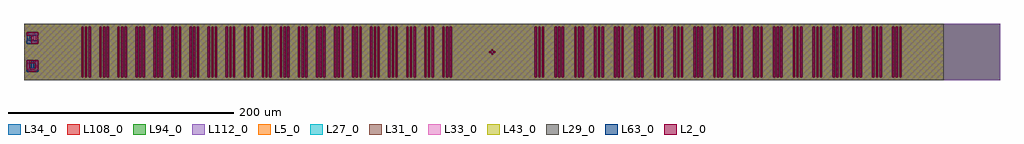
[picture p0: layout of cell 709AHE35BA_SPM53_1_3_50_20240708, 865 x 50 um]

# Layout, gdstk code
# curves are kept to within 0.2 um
from math import pi, radians
import gdstk
lib = gdstk.Library(unit=1e-6, precision=1e-09)
def R(c, l, rs):  # rectangles x0, y0, x1, y1
    for r in rs: c.add(gdstk.rectangle(r[:2], r[2:], *l))
def A(c, l, x, y, w, h, nx, ny, dx, dy):  # array of equal rectangles
    R(c, l, [(x+i*dx, y+j*dy, x+i*dx+w, y+j*dy+h) for i in range(nx) for j in range(ny)])
def P(c, l, *ps):  # polygons
    for p in ps: c.add(gdstk.Polygon(p, *l))
L2_0 = (2, 0)
L5_0 = (5, 0)
L27_0 = (27, 0)
L29_0 = (29, 0)
L31_0 = (31, 0)
L33_0 = (33, 0)
L34_0 = (34, 0)
L43_0 = (43, 0)
L63_0 = (63, 0)
L94_0 = (94, 0)
L108_0 = (108, 0)
L112_0 = (112, 0)

spm53_800_50_1_6_45_0_t_ = lib.new_cell('SPM53_800_50_1_6_45_0_T_2_T')
A(spm53_800_50_1_6_45_0_t_, L2_0, 51, 2.5, 1.6, 45, 3, 1, 3.2, 0)
A(spm53_800_50_1_6_45_0_t_, L2_0, 67, 2.5, 1.6, 45, 3, 1, 3.2, 0)
A(spm53_800_50_1_6_45_0_t_, L2_0, 83, 2.5, 1.6, 45, 3, 1, 3.2, 0)
A(spm53_800_50_1_6_45_0_t_, L2_0, 99, 2.5, 1.6, 45, 3, 1, 3.2, 0)
A(spm53_800_50_1_6_45_0_t_, L2_0, 115, 2.5, 1.6, 45, 3, 1, 3.2, 0)
A(spm53_800_50_1_6_45_0_t_, L2_0, 131, 2.5, 1.6, 45, 3, 1, 3.2, 0)
A(spm53_800_50_1_6_45_0_t_, L2_0, 147, 2.5, 1.6, 45, 3, 1, 3.2, 0)
A(spm53_800_50_1_6_45_0_t_, L2_0, 163, 2.5, 1.6, 45, 3, 1, 3.2, 0)
A(spm53_800_50_1_6_45_0_t_, L2_0, 179, 2.5, 1.6, 45, 3, 1, 3.2, 0)
A(spm53_800_50_1_6_45_0_t_, L2_0, 195, 2.5, 1.6, 45, 3, 1, 3.2, 0)
A(spm53_800_50_1_6_45_0_t_, L2_0, 211, 2.5, 1.6, 45, 3, 1, 3.2, 0)
A(spm53_800_50_1_6_45_0_t_, L2_0, 227, 2.5, 1.6, 45, 3, 1, 3.2, 0)
A(spm53_800_50_1_6_45_0_t_, L2_0, 243, 2.5, 1.6, 45, 3, 1, 3.2, 0)
A(spm53_800_50_1_6_45_0_t_, L2_0, 259, 2.5, 1.6, 45, 3, 1, 3.2, 0)
A(spm53_800_50_1_6_45_0_t_, L2_0, 275, 2.5, 1.6, 45, 3, 1, 3.2, 0)
A(spm53_800_50_1_6_45_0_t_, L2_0, 291, 2.5, 1.6, 45, 3, 1, 3.2, 0)
A(spm53_800_50_1_6_45_0_t_, L2_0, 307, 2.5, 1.6, 45, 3, 1, 3.2, 0)
A(spm53_800_50_1_6_45_0_t_, L2_0, 323, 2.5, 1.6, 45, 3, 1, 3.2, 0)
A(spm53_800_50_1_6_45_0_t_, L2_0, 339, 2.5, 1.6, 45, 3, 1, 3.2, 0)
A(spm53_800_50_1_6_45_0_t_, L2_0, 355, 2.5, 1.6, 45, 3, 1, 3.2, 0)
A(spm53_800_50_1_6_45_0_t_, L2_0, 371, 2.5, 1.6, 45, 3, 1, 3.2, 0)
A(spm53_800_50_1_6_45_0_t_, L2_0, 452.8, 2.5, 1.6, 45, 3, 1, 3.2, 0)
A(spm53_800_50_1_6_45_0_t_, L2_0, 470.4, 2.5, 1.6, 45, 3, 1, 3.2, 0)
A(spm53_800_50_1_6_45_0_t_, L2_0, 488, 2.5, 1.6, 45, 3, 1, 3.2, 0)
A(spm53_800_50_1_6_45_0_t_, L2_0, 505.6, 2.5, 1.6, 45, 3, 1, 3.2, 0)
A(spm53_800_50_1_6_45_0_t_, L2_0, 523.2, 2.5, 1.6, 45, 3, 1, 3.2, 0)
A(spm53_800_50_1_6_45_0_t_, L2_0, 540.8, 2.5, 1.6, 45, 3, 1, 3.2, 0)
A(spm53_800_50_1_6_45_0_t_, L2_0, 558.4, 2.5, 1.6, 45, 3, 1, 3.2, 0)
A(spm53_800_50_1_6_45_0_t_, L2_0, 576, 2.5, 1.6, 45, 3, 1, 3.2, 0)
A(spm53_800_50_1_6_45_0_t_, L2_0, 593.6, 2.5, 1.6, 45, 3, 1, 3.2, 0)
A(spm53_800_50_1_6_45_0_t_, L2_0, 611.2, 2.5, 1.6, 45, 3, 1, 3.2, 0)
A(spm53_800_50_1_6_45_0_t_, L2_0, 628.8, 2.5, 1.6, 45, 3, 1, 3.2, 0)
A(spm53_800_50_1_6_45_0_t_, L2_0, 646.4, 2.5, 1.6, 45, 3, 1, 3.2, 0)
A(spm53_800_50_1_6_45_0_t_, L2_0, 664, 2.5, 1.6, 45, 3, 1, 3.2, 0)
A(spm53_800_50_1_6_45_0_t_, L2_0, 681.6, 2.5, 1.6, 45, 3, 1, 3.2, 0)
A(spm53_800_50_1_6_45_0_t_, L2_0, 699.2, 2.5, 1.6, 45, 3, 1, 3.2, 0)
A(spm53_800_50_1_6_45_0_t_, L2_0, 716.8, 2.5, 1.6, 45, 3, 1, 3.2, 0)
A(spm53_800_50_1_6_45_0_t_, L2_0, 734.4, 2.5, 1.6, 45, 3, 1, 3.2, 0)
A(spm53_800_50_1_6_45_0_t_, L2_0, 752, 2.5, 1.6, 45, 3, 1, 3.2, 0)
A(spm53_800_50_1_6_45_0_t_, L2_0, 769.6, 2.5, 1.6, 45, 3, 1, 3.2, 0)
P(spm53_800_50_1_6_45_0_t_, L2_0, [(415.5,24.5),(417.5,24.5),(417.5,25.5),(415.5,25.5),(415.5,27.5),(414.5,27.5),(414.5,25.5),(412.5,25.5),(412.5,24.5),(414.5,24.5),(414.5,22.5),(415.5,22.5)])
R(spm53_800_50_1_6_45_0_t_, L5_0, [(15,0,815,50)])
R(spm53_800_50_1_6_45_0_t_, L27_0, [(15,0,815,50)])
R(spm53_800_50_1_6_45_0_t_, L31_0, [(15,0,815,50)])
R(spm53_800_50_1_6_45_0_t_, L33_0, [(15,0,815,50)])
R(spm53_800_50_1_6_45_0_t_, L34_0, [(15,0,865,50)])
R(spm53_800_50_1_6_45_0_t_, L94_0, [(15,0,865,50)])
R(spm53_800_50_1_6_45_0_t_, L108_0, [(15,0,865,50)])
R(spm53_800_50_1_6_45_0_t_, L112_0, [(15,0,865,50)])

c_spm53_800_50_1_6_45_0_t_ = lib.new_cell('SPM53_800_50_1_6_45_0_T_2_name')
P(c_spm53_800_50_1_6_45_0_t_, L2_0, [(10.5,2.5),(10.5,6.5),(17.5,6.5),(17.5,12.5),(7.5,12.5),(7.5,9),(10.5,9),(10.5,10),(15,10),(15,9),(10.5,9),(7.5,9),(7.5,2.5)],
  [(40.5,2.5),(42.5,4.5),(42.5,10.5),(40.5,12.5),(32.5,12.5),(32.5,5),(35,5),(35,10),(39,10),(40,9),(40,6),(39,5),(32.5,5),(32.5,2.5)])
R(c_spm53_800_50_1_6_45_0_t_, L5_0, [(0,0,50,15)])
R(c_spm53_800_50_1_6_45_0_t_, L27_0, [(0,0,50,15)])
R(c_spm53_800_50_1_6_45_0_t_, L31_0, [(0,0,50,15)])
R(c_spm53_800_50_1_6_45_0_t_, L33_0, [(0,0,50,15)])
R(c_spm53_800_50_1_6_45_0_t_, L34_0, [(0,0,50,15)])
R(c_spm53_800_50_1_6_45_0_t_, L94_0, [(0,0,50,15)])
R(c_spm53_800_50_1_6_45_0_t_, L108_0, [(0,0,50,15)])
R(c_spm53_800_50_1_6_45_0_t_, L112_0, [(0,0,50,15)])

spm53_800_50_1_6_45_0_m_ = lib.new_cell('SPM53_800_50_1_6_45_0_M_29_M')
R(spm53_800_50_1_6_45_0_m_, L5_0, [(15,0,815,50)])
R(spm53_800_50_1_6_45_0_m_, L27_0, [(15,0,815,50)])
P(spm53_800_50_1_6_45_0_m_, L29_0, [(211,50),(15,50),(15,2.5),(51,2.5),(51,47.5),(52.6,47.5),(52.6,2.5),(54.2,2.5),(54.2,47.5),(55.8,47.5),(55.8,2.5),(57.4,2.5),(57.4,47.5),(59,47.5),(59,2.5),(67,2.5),(67,47.5),(68.6,47.5),(68.6,2.5),(70.2,2.5),(70.2,47.5),(71.8,47.5),(71.8,2.5),(73.4,2.5),(73.4,47.5),(75,47.5),(75,2.5),(83,2.5),(83,47.5),(84.6,47.5),(84.6,2.5),(86.2,2.5),(86.2,47.5),(87.8,47.5),(87.8,2.5),(89.4,2.5),(89.4,47.5),(91,47.5),(91,2.5),(99,2.5),(99,47.5),(100.6,47.5),(100.6,2.5),(102.2,2.5),(102.2,47.5),(103.8,47.5),(103.8,2.5),(105.4,2.5),(105.4,47.5),(107,47.5),(107,2.5),(115,2.5),(115,47.5),(116.6,47.5),(116.6,2.5),(118.2,2.5),(118.2,47.5),(119.8,47.5),(119.8,2.5),(121.4,2.5),(121.4,47.5),(123,47.5),(123,2.5),(131,2.5),(131,47.5),(132.6,47.5),(132.6,2.5),(134.2,2.5),(134.2,47.5),(135.8,47.5),(135.8,2.5),(137.4,2.5),(137.4,47.5),(139,47.5),(139,2.5),(147,2.5),(147,47.5),(148.6,47.5),(148.6,2.5),(150.2,2.5),(150.2,47.5),(151.8,47.5),(151.8,2.5),(153.4,2.5),(153.4,47.5),(155,47.5),(155,2.5),(163,2.5),(163,47.5),(164.6,47.5),(164.6,2.5),(166.2,2.5),(166.2,47.5),(167.8,47.5),(167.8,2.5),(169.4,2.5),(169.4,47.5),(171,47.5),(171,2.5),(179,2.5),(179,47.5),(180.6,47.5),(180.6,2.5),(182.2,2.5),(182.2,47.5),(183.8,47.5),(183.8,2.5),(185.4,2.5),(185.4,47.5),(187,47.5),(187,2.5),(195,2.5),(195,47.5),(196.6,47.5),(196.6,2.5),(198.2,2.5),(198.2,47.5),(199.8,47.5),(199.8,2.5),(201.4,2.5),(201.4,47.5),(203,47.5),(203,2.5),(201.4,2.5),(199.8,2.5),(198.2,2.5),(196.6,2.5),(195,2.5),(187,2.5),(185.4,2.5),(183.8,2.5),(182.2,2.5),(180.6,2.5),(179,2.5),(171,2.5),(169.4,2.5),(167.8,2.5),(166.2,2.5),(164.6,2.5),(163,2.5),(155,2.5),(153.4,2.5),(151.8,2.5),(150.2,2.5),(148.6,2.5),(147,2.5),(139,2.5),(137.4,2.5),(135.8,2.5),(134.2,2.5),(132.6,2.5),(131,2.5),(123,2.5),(121.4,2.5),(119.8,2.5),(118.2,2.5),(116.6,2.5),(115,2.5),(107,2.5),(105.4,2.5),(103.8,2.5),(102.2,2.5),(100.6,2.5),(99,2.5),(91,2.5),(89.4,2.5),(87.8,2.5),(86.2,2.5),(84.6,2.5),(83,2.5),(75,2.5),(73.4,2.5),(71.8,2.5),(70.2,2.5),(68.6,2.5),(67,2.5),(59,2.5),(57.4,2.5),(55.8,2.5),(54.2,2.5),(52.6,2.5),(51,2.5),(15,2.5),(15,0),(211,0)],
  [(212.6,2.5),(214.2,2.5),(214.2,47.5),(215.8,47.5),(215.8,2.5),(217.4,2.5),(217.4,47.5),(219,47.5),(219,2.5),(227,2.5),(227,47.5),(228.6,47.5),(228.6,2.5),(230.2,2.5),(230.2,47.5),(231.8,47.5),(231.8,2.5),(233.4,2.5),(233.4,47.5),(235,47.5),(235,2.5),(243,2.5),(243,47.5),(244.6,47.5),(244.6,2.5),(246.2,2.5),(246.2,47.5),(247.8,47.5),(247.8,2.5),(249.4,2.5),(249.4,47.5),(251,47.5),(251,2.5),(259,2.5),(259,47.5),(260.6,47.5),(260.6,2.5),(262.2,2.5),(262.2,47.5),(263.8,47.5),(263.8,2.5),(265.4,2.5),(265.4,47.5),(267,47.5),(267,2.5),(275,2.5),(275,47.5),(276.6,47.5),(276.6,2.5),(278.2,2.5),(278.2,47.5),(279.8,47.5),(279.8,2.5),(281.4,2.5),(281.4,47.5),(283,47.5),(283,2.5),(291,2.5),(291,47.5),(292.6,47.5),(292.6,2.5),(294.2,2.5),(294.2,47.5),(295.8,47.5),(295.8,2.5),(297.4,2.5),(297.4,47.5),(299,47.5),(299,2.5),(307,2.5),(307,47.5),(308.6,47.5),(308.6,2.5),(310.2,2.5),(310.2,47.5),(311.8,47.5),(311.8,2.5),(313.4,2.5),(313.4,47.5),(315,47.5),(315,2.5),(323,2.5),(323,47.5),(324.6,47.5),(324.6,2.5),(326.2,2.5),(326.2,47.5),(327.8,47.5),(327.8,2.5),(329.4,2.5),(329.4,47.5),(331,47.5),(331,2.5),(339,2.5),(339,47.5),(340.6,47.5),(340.6,2.5),(342.2,2.5),(342.2,47.5),(343.8,47.5),(343.8,2.5),(345.4,2.5),(345.4,47.5),(347,47.5),(347,2.5),(355,2.5),(355,47.5),(356.6,47.5),(356.6,2.5),(358.2,2.5),(358.2,47.5),(359.8,47.5),(359.8,2.5),(361.4,2.5),(361.4,47.5),(363,47.5),(363,2.5),(371,2.5),(371,47.5),(372.6,47.5),(372.6,2.5),(371,2.5),(363,2.5),(361.4,2.5),(359.8,2.5),(358.2,2.5),(356.6,2.5),(355,2.5),(347,2.5),(345.4,2.5),(343.8,2.5),(342.2,2.5),(340.6,2.5),(339,2.5),(331,2.5),(329.4,2.5),(327.8,2.5),(326.2,2.5),(324.6,2.5),(323,2.5),(315,2.5),(313.4,2.5),(311.8,2.5),(310.2,2.5),(308.6,2.5),(307,2.5),(299,2.5),(297.4,2.5),(295.8,2.5),(294.2,2.5),(292.6,2.5),(291,2.5),(283,2.5),(281.4,2.5),(279.8,2.5),(278.2,2.5),(276.6,2.5),(275,2.5),(267,2.5),(265.4,2.5),(263.8,2.5),(262.2,2.5),(260.6,2.5),(259,2.5),(251,2.5),(249.4,2.5),(247.8,2.5),(246.2,2.5),(244.6,2.5),(243,2.5),(235,2.5),(233.4,2.5),(231.8,2.5),(230.2,2.5),(228.6,2.5),(227,2.5),(219,2.5),(217.4,2.5),(215.8,2.5),(214.2,2.5),(212.6,2.5),(211,2.5),(211,0),(374.2,0),(374.2,50),(211,50),(211,47.5),(212.6,47.5)],
  [(375.8,2.5),(377.4,2.5),(377.4,47.5),(379,47.5),(379,24.5),(412.5,24.5),(412.5,25.5),(414.5,25.5),(414.5,27.5),(415.5,27.5),(415.5,25.5),(417.5,25.5),(417.5,24.5),(415.5,24.5),(415.5,22.5),(414.5,22.5),(414.5,24.5),(412.5,24.5),(379,24.5),(379,2.5),(452.8,2.5),(452.8,47.5),(454.4,47.5),(454.4,2.5),(456,2.5),(456,47.5),(457.6,47.5),(457.6,2.5),(459.2,2.5),(459.2,47.5),(460.8,47.5),(460.8,2.5),(470.4,2.5),(470.4,47.5),(472,47.5),(472,2.5),(473.6,2.5),(473.6,47.5),(475.2,47.5),(475.2,2.5),(476.8,2.5),(476.8,47.5),(478.4,47.5),(478.4,2.5),(488,2.5),(488,47.5),(489.6,47.5),(489.6,2.5),(491.2,2.5),(491.2,47.5),(492.8,47.5),(492.8,2.5),(494.4,2.5),(494.4,47.5),(496,47.5),(496,2.5),(505.6,2.5),(505.6,47.5),(507.2,47.5),(507.2,2.5),(508.8,2.5),(508.8,47.5),(510.4,47.5),(510.4,2.5),(512,2.5),(512,47.5),(513.6,47.5),(513.6,2.5),(523.2,2.5),(523.2,47.5),(524.8,47.5),(524.8,2.5),(526.4,2.5),(526.4,47.5),(528,47.5),(528,2.5),(529.6,2.5),(529.6,47.5),(531.2,47.5),(531.2,2.5),(540.8,2.5),(540.8,47.5),(542.4,47.5),(542.4,2.5),(544,2.5),(544,47.5),(545.6,47.5),(545.6,2.5),(547.2,2.5),(547.2,47.5),(548.8,47.5),(548.8,2.5),(558.4,2.5),(558.4,47.5),(560,47.5),(560,2.5),(561.6,2.5),(561.6,47.5),(563.2,47.5),(563.2,2.5),(564.8,2.5),(564.8,47.5),(566.4,47.5),(566.4,2.5),(576,2.5),(576,47.5),(577.6,47.5),(577.6,2.5),(579.2,2.5),(579.2,47.5),(580.8,47.5),(580.8,2.5),(582.4,2.5),(582.4,47.5),(584,47.5),(584,2.5),(593.6,2.5),(593.6,47.5),(595.2,47.5),(595.2,2.5),(596.8,2.5),(596.8,47.5),(598.4,47.5),(598.4,2.5),(596.8,2.5),(595.2,2.5),(593.6,2.5),(584,2.5),(582.4,2.5),(580.8,2.5),(579.2,2.5),(577.6,2.5),(576,2.5),(566.4,2.5),(564.8,2.5),(563.2,2.5),(561.6,2.5),(560,2.5),(558.4,2.5),(548.8,2.5),(547.2,2.5),(545.6,2.5),(544,2.5),(542.4,2.5),(540.8,2.5),(531.2,2.5),(529.6,2.5),(528,2.5),(526.4,2.5),(524.8,2.5),(523.2,2.5),(513.6,2.5),(512,2.5),(510.4,2.5),(508.8,2.5),(507.2,2.5),(505.6,2.5),(496,2.5),(494.4,2.5),(492.8,2.5),(491.2,2.5),(489.6,2.5),(488,2.5),(478.4,2.5),(476.8,2.5),(475.2,2.5),(473.6,2.5),(472,2.5),(470.4,2.5),(460.8,2.5),(459.2,2.5),(457.6,2.5),(456,2.5),(454.4,2.5),(452.8,2.5),(379,2.5),(377.4,2.5),(375.8,2.5),(374.2,2.5),(374.2,0),(600,0),(600,50),(374.2,50),(374.2,47.5),(375.8,47.5)],
  [(601.6,2.5),(611.2,2.5),(611.2,47.5),(612.8,47.5),(612.8,2.5),(614.4,2.5),(614.4,47.5),(616,47.5),(616,2.5),(617.6,2.5),(617.6,47.5),(619.2,47.5),(619.2,2.5),(628.8,2.5),(628.8,47.5),(630.4,47.5),(630.4,2.5),(632,2.5),(632,47.5),(633.6,47.5),(633.6,2.5),(635.2,2.5),(635.2,47.5),(636.8,47.5),(636.8,2.5),(646.4,2.5),(646.4,47.5),(648,47.5),(648,2.5),(649.6,2.5),(649.6,47.5),(651.2,47.5),(651.2,2.5),(652.8,2.5),(652.8,47.5),(654.4,47.5),(654.4,2.5),(664,2.5),(664,47.5),(665.6,47.5),(665.6,2.5),(667.2,2.5),(667.2,47.5),(668.8,47.5),(668.8,2.5),(670.4,2.5),(670.4,47.5),(672,47.5),(672,2.5),(681.6,2.5),(681.6,47.5),(683.2,47.5),(683.2,2.5),(684.8,2.5),(684.8,47.5),(686.4,47.5),(686.4,2.5),(688,2.5),(688,47.5),(689.6,47.5),(689.6,2.5),(699.2,2.5),(699.2,47.5),(700.8,47.5),(700.8,2.5),(702.4,2.5),(702.4,47.5),(704,47.5),(704,2.5),(705.6,2.5),(705.6,47.5),(707.2,47.5),(707.2,2.5),(716.8,2.5),(716.8,47.5),(718.4,47.5),(718.4,2.5),(720,2.5),(720,47.5),(721.6,47.5),(721.6,2.5),(723.2,2.5),(723.2,47.5),(724.8,47.5),(724.8,2.5),(734.4,2.5),(734.4,47.5),(736,47.5),(736,2.5),(737.6,2.5),(737.6,47.5),(739.2,47.5),(739.2,2.5),(740.8,2.5),(740.8,47.5),(742.4,47.5),(742.4,2.5),(752,2.5),(752,47.5),(753.6,47.5),(753.6,2.5),(755.2,2.5),(755.2,47.5),(756.8,47.5),(756.8,2.5),(758.4,2.5),(758.4,47.5),(760,47.5),(760,2.5),(769.6,2.5),(769.6,47.5),(771.2,47.5),(771.2,2.5),(772.8,2.5),(772.8,47.5),(774.4,47.5),(774.4,2.5),(776,2.5),(776,47.5),(777.6,47.5),(777.6,2.5),(776,2.5),(774.4,2.5),(772.8,2.5),(771.2,2.5),(769.6,2.5),(760,2.5),(758.4,2.5),(756.8,2.5),(755.2,2.5),(753.6,2.5),(752,2.5),(742.4,2.5),(740.8,2.5),(739.2,2.5),(737.6,2.5),(736,2.5),(734.4,2.5),(724.8,2.5),(723.2,2.5),(721.6,2.5),(720,2.5),(718.4,2.5),(716.8,2.5),(707.2,2.5),(705.6,2.5),(704,2.5),(702.4,2.5),(700.8,2.5),(699.2,2.5),(689.6,2.5),(688,2.5),(686.4,2.5),(684.8,2.5),(683.2,2.5),(681.6,2.5),(672,2.5),(670.4,2.5),(668.8,2.5),(667.2,2.5),(665.6,2.5),(664,2.5),(654.4,2.5),(652.8,2.5),(651.2,2.5),(649.6,2.5),(648,2.5),(646.4,2.5),(636.8,2.5),(635.2,2.5),(633.6,2.5),(632,2.5),(630.4,2.5),(628.8,2.5),(619.2,2.5),(617.6,2.5),(616,2.5),(614.4,2.5),(612.8,2.5),(611.2,2.5),(601.6,2.5),(600,2.5),(600,0),(815,0),(815,50),(600,50),(600,47.5),(601.6,47.5)])
R(spm53_800_50_1_6_45_0_m_, L31_0, [(15,0,815,50)])
R(spm53_800_50_1_6_45_0_m_, L33_0, [(15,0,815,50)])
R(spm53_800_50_1_6_45_0_m_, L34_0, [(15,0,865,50)])
R(spm53_800_50_1_6_45_0_m_, L94_0, [(15,0,865,50)])
R(spm53_800_50_1_6_45_0_m_, L108_0, [(15,0,865,50)])
R(spm53_800_50_1_6_45_0_m_, L112_0, [(15,0,865,50)])

c_spm53_800_50_1_6_45_0_m_ = lib.new_cell('SPM53_800_50_1_6_45_0_M_29_name')
R(c_spm53_800_50_1_6_45_0_m_, L5_0, [(0,0,50,15)])
R(c_spm53_800_50_1_6_45_0_m_, L27_0, [(0,0,50,15)])
P(c_spm53_800_50_1_6_45_0_m_, L29_0, [(50,15),(0,15),(0,2.5),(7.5,2.5),(7.5,12.5),(10,12.5),(12.5,10),(15,12.5),(17.5,12.5),(17.5,2.5),(32.5,2.5),(32.5,8.8),(39.5,8.8),(39.5,10),(32.5,10),(32.5,12.5),(42.5,12.5),(42.5,6.3),(35.5,6.3),(35.5,5),(42.5,5),(42.5,2.5),(15,2.5),(15,9),(12.5,6.5),(10,9),(10,2.5),(0,2.5),(0,0),(50,0)])
R(c_spm53_800_50_1_6_45_0_m_, L31_0, [(0,0,50,15)])
R(c_spm53_800_50_1_6_45_0_m_, L33_0, [(0,0,50,15)])
R(c_spm53_800_50_1_6_45_0_m_, L34_0, [(0,0,50,15)])
R(c_spm53_800_50_1_6_45_0_m_, L94_0, [(0,0,50,15)])
R(c_spm53_800_50_1_6_45_0_m_, L108_0, [(0,0,50,15)])
R(c_spm53_800_50_1_6_45_0_m_, L112_0, [(0,0,50,15)])

c_spm53_800_50_1_6_45_0_t__ = lib.new_cell('SPM53_800_50_1_6_45_0_T_63_T')
R(c_spm53_800_50_1_6_45_0_t__, L5_0, [(15,0,815,50)])
R(c_spm53_800_50_1_6_45_0_t__, L27_0, [(15,0,815,50)])
R(c_spm53_800_50_1_6_45_0_t__, L31_0, [(15,0,815,50)])
R(c_spm53_800_50_1_6_45_0_t__, L33_0, [(15,0,815,50)])
R(c_spm53_800_50_1_6_45_0_t__, L34_0, [(15,0,865,50)])
A(c_spm53_800_50_1_6_45_0_t__, L63_0, 51, 2.5, 1.6, 45, 3, 1, 3.2, 0)
A(c_spm53_800_50_1_6_45_0_t__, L63_0, 67, 2.5, 1.6, 45, 3, 1, 3.2, 0)
A(c_spm53_800_50_1_6_45_0_t__, L63_0, 83, 2.5, 1.6, 45, 3, 1, 3.2, 0)
A(c_spm53_800_50_1_6_45_0_t__, L63_0, 99, 2.5, 1.6, 45, 3, 1, 3.2, 0)
A(c_spm53_800_50_1_6_45_0_t__, L63_0, 115, 2.5, 1.6, 45, 3, 1, 3.2, 0)
A(c_spm53_800_50_1_6_45_0_t__, L63_0, 131, 2.5, 1.6, 45, 3, 1, 3.2, 0)
A(c_spm53_800_50_1_6_45_0_t__, L63_0, 147, 2.5, 1.6, 45, 3, 1, 3.2, 0)
A(c_spm53_800_50_1_6_45_0_t__, L63_0, 163, 2.5, 1.6, 45, 3, 1, 3.2, 0)
A(c_spm53_800_50_1_6_45_0_t__, L63_0, 179, 2.5, 1.6, 45, 3, 1, 3.2, 0)
A(c_spm53_800_50_1_6_45_0_t__, L63_0, 195, 2.5, 1.6, 45, 3, 1, 3.2, 0)
A(c_spm53_800_50_1_6_45_0_t__, L63_0, 211, 2.5, 1.6, 45, 3, 1, 3.2, 0)
A(c_spm53_800_50_1_6_45_0_t__, L63_0, 227, 2.5, 1.6, 45, 3, 1, 3.2, 0)
A(c_spm53_800_50_1_6_45_0_t__, L63_0, 243, 2.5, 1.6, 45, 3, 1, 3.2, 0)
A(c_spm53_800_50_1_6_45_0_t__, L63_0, 259, 2.5, 1.6, 45, 3, 1, 3.2, 0)
A(c_spm53_800_50_1_6_45_0_t__, L63_0, 275, 2.5, 1.6, 45, 3, 1, 3.2, 0)
A(c_spm53_800_50_1_6_45_0_t__, L63_0, 291, 2.5, 1.6, 45, 3, 1, 3.2, 0)
A(c_spm53_800_50_1_6_45_0_t__, L63_0, 307, 2.5, 1.6, 45, 3, 1, 3.2, 0)
A(c_spm53_800_50_1_6_45_0_t__, L63_0, 323, 2.5, 1.6, 45, 3, 1, 3.2, 0)
A(c_spm53_800_50_1_6_45_0_t__, L63_0, 339, 2.5, 1.6, 45, 3, 1, 3.2, 0)
A(c_spm53_800_50_1_6_45_0_t__, L63_0, 355, 2.5, 1.6, 45, 3, 1, 3.2, 0)
A(c_spm53_800_50_1_6_45_0_t__, L63_0, 371, 2.5, 1.6, 45, 3, 1, 3.2, 0)
A(c_spm53_800_50_1_6_45_0_t__, L63_0, 452.8, 2.5, 1.6, 45, 3, 1, 3.2, 0)
A(c_spm53_800_50_1_6_45_0_t__, L63_0, 470.4, 2.5, 1.6, 45, 3, 1, 3.2, 0)
A(c_spm53_800_50_1_6_45_0_t__, L63_0, 488, 2.5, 1.6, 45, 3, 1, 3.2, 0)
A(c_spm53_800_50_1_6_45_0_t__, L63_0, 505.6, 2.5, 1.6, 45, 3, 1, 3.2, 0)
A(c_spm53_800_50_1_6_45_0_t__, L63_0, 523.2, 2.5, 1.6, 45, 3, 1, 3.2, 0)
A(c_spm53_800_50_1_6_45_0_t__, L63_0, 540.8, 2.5, 1.6, 45, 3, 1, 3.2, 0)
A(c_spm53_800_50_1_6_45_0_t__, L63_0, 558.4, 2.5, 1.6, 45, 3, 1, 3.2, 0)
A(c_spm53_800_50_1_6_45_0_t__, L63_0, 576, 2.5, 1.6, 45, 3, 1, 3.2, 0)
A(c_spm53_800_50_1_6_45_0_t__, L63_0, 593.6, 2.5, 1.6, 45, 3, 1, 3.2, 0)
A(c_spm53_800_50_1_6_45_0_t__, L63_0, 611.2, 2.5, 1.6, 45, 3, 1, 3.2, 0)
A(c_spm53_800_50_1_6_45_0_t__, L63_0, 628.8, 2.5, 1.6, 45, 3, 1, 3.2, 0)
A(c_spm53_800_50_1_6_45_0_t__, L63_0, 646.4, 2.5, 1.6, 45, 3, 1, 3.2, 0)
A(c_spm53_800_50_1_6_45_0_t__, L63_0, 664, 2.5, 1.6, 45, 3, 1, 3.2, 0)
A(c_spm53_800_50_1_6_45_0_t__, L63_0, 681.6, 2.5, 1.6, 45, 3, 1, 3.2, 0)
A(c_spm53_800_50_1_6_45_0_t__, L63_0, 699.2, 2.5, 1.6, 45, 3, 1, 3.2, 0)
A(c_spm53_800_50_1_6_45_0_t__, L63_0, 716.8, 2.5, 1.6, 45, 3, 1, 3.2, 0)
A(c_spm53_800_50_1_6_45_0_t__, L63_0, 734.4, 2.5, 1.6, 45, 3, 1, 3.2, 0)
A(c_spm53_800_50_1_6_45_0_t__, L63_0, 752, 2.5, 1.6, 45, 3, 1, 3.2, 0)
A(c_spm53_800_50_1_6_45_0_t__, L63_0, 769.6, 2.5, 1.6, 45, 3, 1, 3.2, 0)
P(c_spm53_800_50_1_6_45_0_t__, L63_0, [(415.5,24.5),(417.5,24.5),(417.5,25.5),(415.5,25.5),(415.5,27.5),(414.5,27.5),(414.5,25.5),(412.5,25.5),(412.5,24.5),(414.5,24.5),(414.5,22.5),(415.5,22.5)])
R(c_spm53_800_50_1_6_45_0_t__, L94_0, [(15,0,865,50)])
R(c_spm53_800_50_1_6_45_0_t__, L108_0, [(15,0,865,50)])
R(c_spm53_800_50_1_6_45_0_t__, L112_0, [(15,0,865,50)])

c_spm53_800_50_1_6_45_0_t___ = lib.new_cell('SPM53_800_50_1_6_45_0_T_63_name')
R(c_spm53_800_50_1_6_45_0_t___, L5_0, [(0,0,50,15)])
R(c_spm53_800_50_1_6_45_0_t___, L27_0, [(0,0,50,15)])
R(c_spm53_800_50_1_6_45_0_t___, L31_0, [(0,0,50,15)])
R(c_spm53_800_50_1_6_45_0_t___, L33_0, [(0,0,50,15)])
R(c_spm53_800_50_1_6_45_0_t___, L34_0, [(0,0,50,15)])
P(c_spm53_800_50_1_6_45_0_t___, L63_0, [(17.5,12.5),(14.5,12.5),(14.5,5.5),(10.5,5.5),(10.5,12.5),(7.5,12.5),(7.5,2.5),(17.5,2.5)],
  [(42.5,12.5),(32.5,12.5),(32.5,10),(39.5,10),(39.5,8.8),(32.5,8.8),(32.5,6.3),(39.5,6.3),(39.5,5),(32.5,5),(32.5,2.5),(42.5,2.5)])
R(c_spm53_800_50_1_6_45_0_t___, L94_0, [(0,0,50,15)])
R(c_spm53_800_50_1_6_45_0_t___, L108_0, [(0,0,50,15)])
R(c_spm53_800_50_1_6_45_0_t___, L112_0, [(0,0,50,15)])

c_spm53_800_50_1_6_45_0_m__ = lib.new_cell('SPM53_800_50_1_6_45_0_M_43_M')
R(c_spm53_800_50_1_6_45_0_m__, L5_0, [(15,0,815,50)])
R(c_spm53_800_50_1_6_45_0_m__, L27_0, [(15,0,815,50)])
R(c_spm53_800_50_1_6_45_0_m__, L31_0, [(15,0,815,50)])
R(c_spm53_800_50_1_6_45_0_m__, L33_0, [(15,0,815,50)])
R(c_spm53_800_50_1_6_45_0_m__, L34_0, [(15,0,865,50)])
P(c_spm53_800_50_1_6_45_0_m__, L43_0, [(211,50),(15,50),(15,2.5),(51,2.5),(51,47.5),(52.6,47.5),(52.6,2.5),(54.2,2.5),(54.2,47.5),(55.8,47.5),(55.8,2.5),(57.4,2.5),(57.4,47.5),(59,47.5),(59,2.5),(67,2.5),(67,47.5),(68.6,47.5),(68.6,2.5),(70.2,2.5),(70.2,47.5),(71.8,47.5),(71.8,2.5),(73.4,2.5),(73.4,47.5),(75,47.5),(75,2.5),(83,2.5),(83,47.5),(84.6,47.5),(84.6,2.5),(86.2,2.5),(86.2,47.5),(87.8,47.5),(87.8,2.5),(89.4,2.5),(89.4,47.5),(91,47.5),(91,2.5),(99,2.5),(99,47.5),(100.6,47.5),(100.6,2.5),(102.2,2.5),(102.2,47.5),(103.8,47.5),(103.8,2.5),(105.4,2.5),(105.4,47.5),(107,47.5),(107,2.5),(115,2.5),(115,47.5),(116.6,47.5),(116.6,2.5),(118.2,2.5),(118.2,47.5),(119.8,47.5),(119.8,2.5),(121.4,2.5),(121.4,47.5),(123,47.5),(123,2.5),(131,2.5),(131,47.5),(132.6,47.5),(132.6,2.5),(134.2,2.5),(134.2,47.5),(135.8,47.5),(135.8,2.5),(137.4,2.5),(137.4,47.5),(139,47.5),(139,2.5),(147,2.5),(147,47.5),(148.6,47.5),(148.6,2.5),(150.2,2.5),(150.2,47.5),(151.8,47.5),(151.8,2.5),(153.4,2.5),(153.4,47.5),(155,47.5),(155,2.5),(163,2.5),(163,47.5),(164.6,47.5),(164.6,2.5),(166.2,2.5),(166.2,47.5),(167.8,47.5),(167.8,2.5),(169.4,2.5),(169.4,47.5),(171,47.5),(171,2.5),(179,2.5),(179,47.5),(180.6,47.5),(180.6,2.5),(182.2,2.5),(182.2,47.5),(183.8,47.5),(183.8,2.5),(185.4,2.5),(185.4,47.5),(187,47.5),(187,2.5),(195,2.5),(195,47.5),(196.6,47.5),(196.6,2.5),(198.2,2.5),(198.2,47.5),(199.8,47.5),(199.8,2.5),(201.4,2.5),(201.4,47.5),(203,47.5),(203,2.5),(201.4,2.5),(199.8,2.5),(198.2,2.5),(196.6,2.5),(195,2.5),(187,2.5),(185.4,2.5),(183.8,2.5),(182.2,2.5),(180.6,2.5),(179,2.5),(171,2.5),(169.4,2.5),(167.8,2.5),(166.2,2.5),(164.6,2.5),(163,2.5),(155,2.5),(153.4,2.5),(151.8,2.5),(150.2,2.5),(148.6,2.5),(147,2.5),(139,2.5),(137.4,2.5),(135.8,2.5),(134.2,2.5),(132.6,2.5),(131,2.5),(123,2.5),(121.4,2.5),(119.8,2.5),(118.2,2.5),(116.6,2.5),(115,2.5),(107,2.5),(105.4,2.5),(103.8,2.5),(102.2,2.5),(100.6,2.5),(99,2.5),(91,2.5),(89.4,2.5),(87.8,2.5),(86.2,2.5),(84.6,2.5),(83,2.5),(75,2.5),(73.4,2.5),(71.8,2.5),(70.2,2.5),(68.6,2.5),(67,2.5),(59,2.5),(57.4,2.5),(55.8,2.5),(54.2,2.5),(52.6,2.5),(51,2.5),(15,2.5),(15,0),(211,0)],
  [(212.6,2.5),(214.2,2.5),(214.2,47.5),(215.8,47.5),(215.8,2.5),(217.4,2.5),(217.4,47.5),(219,47.5),(219,2.5),(227,2.5),(227,47.5),(228.6,47.5),(228.6,2.5),(230.2,2.5),(230.2,47.5),(231.8,47.5),(231.8,2.5),(233.4,2.5),(233.4,47.5),(235,47.5),(235,2.5),(243,2.5),(243,47.5),(244.6,47.5),(244.6,2.5),(246.2,2.5),(246.2,47.5),(247.8,47.5),(247.8,2.5),(249.4,2.5),(249.4,47.5),(251,47.5),(251,2.5),(259,2.5),(259,47.5),(260.6,47.5),(260.6,2.5),(262.2,2.5),(262.2,47.5),(263.8,47.5),(263.8,2.5),(265.4,2.5),(265.4,47.5),(267,47.5),(267,2.5),(275,2.5),(275,47.5),(276.6,47.5),(276.6,2.5),(278.2,2.5),(278.2,47.5),(279.8,47.5),(279.8,2.5),(281.4,2.5),(281.4,47.5),(283,47.5),(283,2.5),(291,2.5),(291,47.5),(292.6,47.5),(292.6,2.5),(294.2,2.5),(294.2,47.5),(295.8,47.5),(295.8,2.5),(297.4,2.5),(297.4,47.5),(299,47.5),(299,2.5),(307,2.5),(307,47.5),(308.6,47.5),(308.6,2.5),(310.2,2.5),(310.2,47.5),(311.8,47.5),(311.8,2.5),(313.4,2.5),(313.4,47.5),(315,47.5),(315,2.5),(323,2.5),(323,47.5),(324.6,47.5),(324.6,2.5),(326.2,2.5),(326.2,47.5),(327.8,47.5),(327.8,2.5),(329.4,2.5),(329.4,47.5),(331,47.5),(331,2.5),(339,2.5),(339,47.5),(340.6,47.5),(340.6,2.5),(342.2,2.5),(342.2,47.5),(343.8,47.5),(343.8,2.5),(345.4,2.5),(345.4,47.5),(347,47.5),(347,2.5),(355,2.5),(355,47.5),(356.6,47.5),(356.6,2.5),(358.2,2.5),(358.2,47.5),(359.8,47.5),(359.8,2.5),(361.4,2.5),(361.4,47.5),(363,47.5),(363,2.5),(371,2.5),(371,47.5),(372.6,47.5),(372.6,2.5),(371,2.5),(363,2.5),(361.4,2.5),(359.8,2.5),(358.2,2.5),(356.6,2.5),(355,2.5),(347,2.5),(345.4,2.5),(343.8,2.5),(342.2,2.5),(340.6,2.5),(339,2.5),(331,2.5),(329.4,2.5),(327.8,2.5),(326.2,2.5),(324.6,2.5),(323,2.5),(315,2.5),(313.4,2.5),(311.8,2.5),(310.2,2.5),(308.6,2.5),(307,2.5),(299,2.5),(297.4,2.5),(295.8,2.5),(294.2,2.5),(292.6,2.5),(291,2.5),(283,2.5),(281.4,2.5),(279.8,2.5),(278.2,2.5),(276.6,2.5),(275,2.5),(267,2.5),(265.4,2.5),(263.8,2.5),(262.2,2.5),(260.6,2.5),(259,2.5),(251,2.5),(249.4,2.5),(247.8,2.5),(246.2,2.5),(244.6,2.5),(243,2.5),(235,2.5),(233.4,2.5),(231.8,2.5),(230.2,2.5),(228.6,2.5),(227,2.5),(219,2.5),(217.4,2.5),(215.8,2.5),(214.2,2.5),(212.6,2.5),(211,2.5),(211,0),(374.2,0),(374.2,50),(211,50),(211,47.5),(212.6,47.5)],
  [(375.8,2.5),(377.4,2.5),(377.4,47.5),(379,47.5),(379,24.5),(412.5,24.5),(412.5,25.5),(414.5,25.5),(414.5,27.5),(415.5,27.5),(415.5,25.5),(417.5,25.5),(417.5,24.5),(415.5,24.5),(415.5,22.5),(414.5,22.5),(414.5,24.5),(412.5,24.5),(379,24.5),(379,2.5),(452.8,2.5),(452.8,47.5),(454.4,47.5),(454.4,2.5),(456,2.5),(456,47.5),(457.6,47.5),(457.6,2.5),(459.2,2.5),(459.2,47.5),(460.8,47.5),(460.8,2.5),(470.4,2.5),(470.4,47.5),(472,47.5),(472,2.5),(473.6,2.5),(473.6,47.5),(475.2,47.5),(475.2,2.5),(476.8,2.5),(476.8,47.5),(478.4,47.5),(478.4,2.5),(488,2.5),(488,47.5),(489.6,47.5),(489.6,2.5),(491.2,2.5),(491.2,47.5),(492.8,47.5),(492.8,2.5),(494.4,2.5),(494.4,47.5),(496,47.5),(496,2.5),(505.6,2.5),(505.6,47.5),(507.2,47.5),(507.2,2.5),(508.8,2.5),(508.8,47.5),(510.4,47.5),(510.4,2.5),(512,2.5),(512,47.5),(513.6,47.5),(513.6,2.5),(523.2,2.5),(523.2,47.5),(524.8,47.5),(524.8,2.5),(526.4,2.5),(526.4,47.5),(528,47.5),(528,2.5),(529.6,2.5),(529.6,47.5),(531.2,47.5),(531.2,2.5),(540.8,2.5),(540.8,47.5),(542.4,47.5),(542.4,2.5),(544,2.5),(544,47.5),(545.6,47.5),(545.6,2.5),(547.2,2.5),(547.2,47.5),(548.8,47.5),(548.8,2.5),(558.4,2.5),(558.4,47.5),(560,47.5),(560,2.5),(561.6,2.5),(561.6,47.5),(563.2,47.5),(563.2,2.5),(564.8,2.5),(564.8,47.5),(566.4,47.5),(566.4,2.5),(576,2.5),(576,47.5),(577.6,47.5),(577.6,2.5),(579.2,2.5),(579.2,47.5),(580.8,47.5),(580.8,2.5),(582.4,2.5),(582.4,47.5),(584,47.5),(584,2.5),(593.6,2.5),(593.6,47.5),(595.2,47.5),(595.2,2.5),(596.8,2.5),(596.8,47.5),(598.4,47.5),(598.4,2.5),(596.8,2.5),(595.2,2.5),(593.6,2.5),(584,2.5),(582.4,2.5),(580.8,2.5),(579.2,2.5),(577.6,2.5),(576,2.5),(566.4,2.5),(564.8,2.5),(563.2,2.5),(561.6,2.5),(560,2.5),(558.4,2.5),(548.8,2.5),(547.2,2.5),(545.6,2.5),(544,2.5),(542.4,2.5),(540.8,2.5),(531.2,2.5),(529.6,2.5),(528,2.5),(526.4,2.5),(524.8,2.5),(523.2,2.5),(513.6,2.5),(512,2.5),(510.4,2.5),(508.8,2.5),(507.2,2.5),(505.6,2.5),(496,2.5),(494.4,2.5),(492.8,2.5),(491.2,2.5),(489.6,2.5),(488,2.5),(478.4,2.5),(476.8,2.5),(475.2,2.5),(473.6,2.5),(472,2.5),(470.4,2.5),(460.8,2.5),(459.2,2.5),(457.6,2.5),(456,2.5),(454.4,2.5),(452.8,2.5),(379,2.5),(377.4,2.5),(375.8,2.5),(374.2,2.5),(374.2,0),(600,0),(600,50),(374.2,50),(374.2,47.5),(375.8,47.5)],
  [(601.6,2.5),(611.2,2.5),(611.2,47.5),(612.8,47.5),(612.8,2.5),(614.4,2.5),(614.4,47.5),(616,47.5),(616,2.5),(617.6,2.5),(617.6,47.5),(619.2,47.5),(619.2,2.5),(628.8,2.5),(628.8,47.5),(630.4,47.5),(630.4,2.5),(632,2.5),(632,47.5),(633.6,47.5),(633.6,2.5),(635.2,2.5),(635.2,47.5),(636.8,47.5),(636.8,2.5),(646.4,2.5),(646.4,47.5),(648,47.5),(648,2.5),(649.6,2.5),(649.6,47.5),(651.2,47.5),(651.2,2.5),(652.8,2.5),(652.8,47.5),(654.4,47.5),(654.4,2.5),(664,2.5),(664,47.5),(665.6,47.5),(665.6,2.5),(667.2,2.5),(667.2,47.5),(668.8,47.5),(668.8,2.5),(670.4,2.5),(670.4,47.5),(672,47.5),(672,2.5),(681.6,2.5),(681.6,47.5),(683.2,47.5),(683.2,2.5),(684.8,2.5),(684.8,47.5),(686.4,47.5),(686.4,2.5),(688,2.5),(688,47.5),(689.6,47.5),(689.6,2.5),(699.2,2.5),(699.2,47.5),(700.8,47.5),(700.8,2.5),(702.4,2.5),(702.4,47.5),(704,47.5),(704,2.5),(705.6,2.5),(705.6,47.5),(707.2,47.5),(707.2,2.5),(716.8,2.5),(716.8,47.5),(718.4,47.5),(718.4,2.5),(720,2.5),(720,47.5),(721.6,47.5),(721.6,2.5),(723.2,2.5),(723.2,47.5),(724.8,47.5),(724.8,2.5),(734.4,2.5),(734.4,47.5),(736,47.5),(736,2.5),(737.6,2.5),(737.6,47.5),(739.2,47.5),(739.2,2.5),(740.8,2.5),(740.8,47.5),(742.4,47.5),(742.4,2.5),(752,2.5),(752,47.5),(753.6,47.5),(753.6,2.5),(755.2,2.5),(755.2,47.5),(756.8,47.5),(756.8,2.5),(758.4,2.5),(758.4,47.5),(760,47.5),(760,2.5),(769.6,2.5),(769.6,47.5),(771.2,47.5),(771.2,2.5),(772.8,2.5),(772.8,47.5),(774.4,47.5),(774.4,2.5),(776,2.5),(776,47.5),(777.6,47.5),(777.6,2.5),(776,2.5),(774.4,2.5),(772.8,2.5),(771.2,2.5),(769.6,2.5),(760,2.5),(758.4,2.5),(756.8,2.5),(755.2,2.5),(753.6,2.5),(752,2.5),(742.4,2.5),(740.8,2.5),(739.2,2.5),(737.6,2.5),(736,2.5),(734.4,2.5),(724.8,2.5),(723.2,2.5),(721.6,2.5),(720,2.5),(718.4,2.5),(716.8,2.5),(707.2,2.5),(705.6,2.5),(704,2.5),(702.4,2.5),(700.8,2.5),(699.2,2.5),(689.6,2.5),(688,2.5),(686.4,2.5),(684.8,2.5),(683.2,2.5),(681.6,2.5),(672,2.5),(670.4,2.5),(668.8,2.5),(667.2,2.5),(665.6,2.5),(664,2.5),(654.4,2.5),(652.8,2.5),(651.2,2.5),(649.6,2.5),(648,2.5),(646.4,2.5),(636.8,2.5),(635.2,2.5),(633.6,2.5),(632,2.5),(630.4,2.5),(628.8,2.5),(619.2,2.5),(617.6,2.5),(616,2.5),(614.4,2.5),(612.8,2.5),(611.2,2.5),(601.6,2.5),(600,2.5),(600,0),(815,0),(815,50),(600,50),(600,47.5),(601.6,47.5)])
R(c_spm53_800_50_1_6_45_0_m__, L94_0, [(15,0,865,50)])
R(c_spm53_800_50_1_6_45_0_m__, L108_0, [(15,0,865,50)])
R(c_spm53_800_50_1_6_45_0_m__, L112_0, [(15,0,865,50)])

c_spm53_800_50_1_6_45_0_m___ = lib.new_cell('SPM53_800_50_1_6_45_0_M_43_name')
R(c_spm53_800_50_1_6_45_0_m___, L5_0, [(0,0,50,15)])
R(c_spm53_800_50_1_6_45_0_m___, L27_0, [(0,0,50,15)])
R(c_spm53_800_50_1_6_45_0_m___, L31_0, [(0,0,50,15)])
R(c_spm53_800_50_1_6_45_0_m___, L33_0, [(0,0,50,15)])
R(c_spm53_800_50_1_6_45_0_m___, L34_0, [(0,0,50,15)])
P(c_spm53_800_50_1_6_45_0_m___, L43_0, [(50,15),(0,15),(0,2.5),(7.5,2.5),(7.5,12.5),(10,12.5),(12.5,10),(15,12.5),(17.5,12.5),(17.5,2.5),(32.5,2.5),(32.5,4.8),(39.5,4.8),(39.5,6.2),(32.5,6.2),(32.5,12.5),(42.5,12.5),(42.5,10.2),(35.5,10.2),(35.5,8.8),(42.5,8.8),(42.5,2.5),(15,2.5),(15,9),(12.5,6.5),(10,9),(10,2.5),(0,2.5),(0,0),(50,0)])
R(c_spm53_800_50_1_6_45_0_m___, L94_0, [(0,0,50,15)])
R(c_spm53_800_50_1_6_45_0_m___, L108_0, [(0,0,50,15)])
R(c_spm53_800_50_1_6_45_0_m___, L112_0, [(0,0,50,15)])

c_709ahe35ba_spm53_1_3_50_ = lib.new_cell('709AHE35BA_SPM53_1_3_50_20240708')
c_709ahe35ba_spm53_1_3_50_.add(gdstk.Reference(spm53_800_50_1_6_45_0_t_, (0,0)))
c_709ahe35ba_spm53_1_3_50_.add(gdstk.Reference(c_spm53_800_50_1_6_45_0_t_, (0,50), rotation=3*pi/2))
c_709ahe35ba_spm53_1_3_50_.add(gdstk.Reference(spm53_800_50_1_6_45_0_m_, (0,0)))
c_709ahe35ba_spm53_1_3_50_.add(gdstk.Reference(c_spm53_800_50_1_6_45_0_m_, (0,50), rotation=3*pi/2))
c_709ahe35ba_spm53_1_3_50_.add(gdstk.Reference(c_spm53_800_50_1_6_45_0_t__, (0,0)))
c_709ahe35ba_spm53_1_3_50_.add(gdstk.Reference(c_spm53_800_50_1_6_45_0_t___, (0,50), rotation=3*pi/2))
c_709ahe35ba_spm53_1_3_50_.add(gdstk.Reference(c_spm53_800_50_1_6_45_0_m__, (0,0)))
c_709ahe35ba_spm53_1_3_50_.add(gdstk.Reference(c_spm53_800_50_1_6_45_0_m___, (0,50), rotation=3*pi/2))

lib.write_gds('709AHE35BA_SPM53_1_3_50_20240708.gds')
